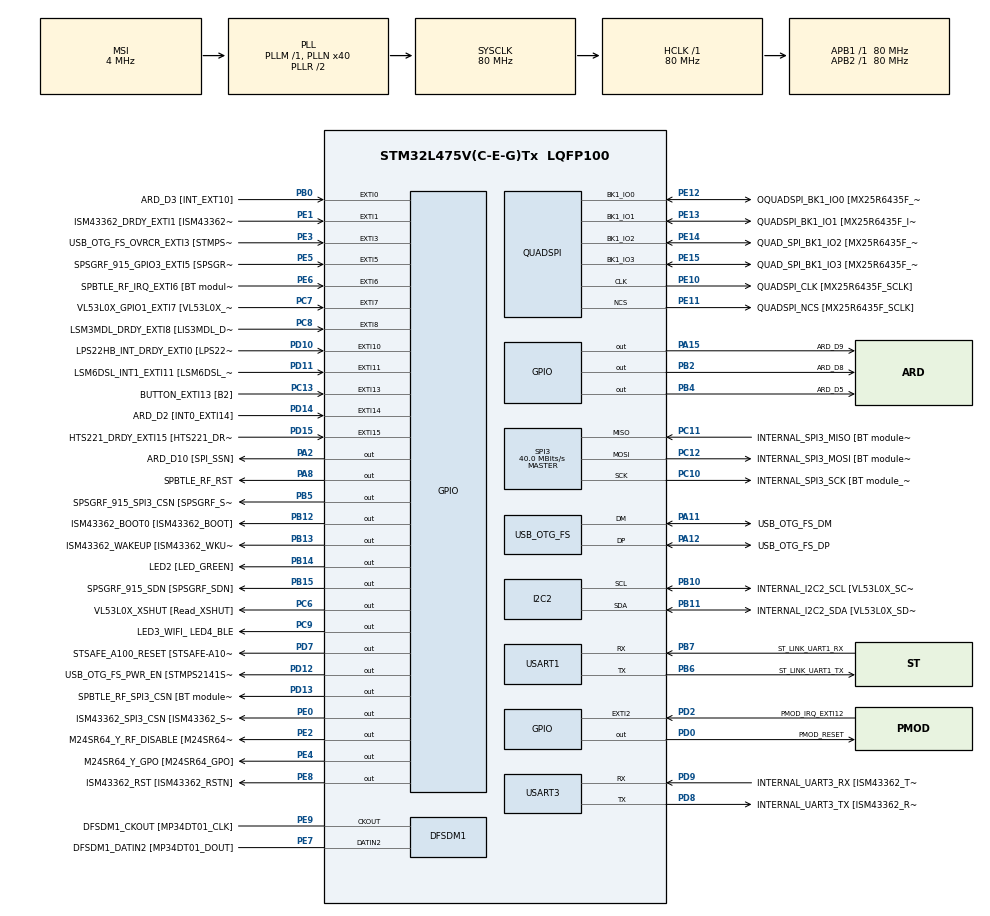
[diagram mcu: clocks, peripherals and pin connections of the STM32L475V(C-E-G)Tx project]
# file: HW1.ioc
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FREERTOS.BinarySemaphores01=myBinarySem01,Dynamic,NULL,Available;myBinarySem02,Dynamic,NULL,Available
FREERTOS.Mutexes01=myMutex01,Dynamic,NULL,Depleted
FREERTOS.Tasks01=defaultTask,24,128,StartDefaultTask,Default,NULL,Dynamic,NULL,NULL;myTask02,24,128,StartTask02,Default,NULL,Dynamic,NULL,NULL
FREERTOS.Timers01=myTimer01,Callback01,osTimerPeriodic,Default,NULL,Dynamic,NULL
Mcu.Family=STM32L4
Mcu.Name=STM32L475V(C-E-G)Tx
Mcu.Package=LQFP100
NVIC.EXTI15_10_IRQn=true\:5\:0\:false\:false\:true\:true\:true\:true\:true
NVIC.EXTI9_5_IRQn=true\:5\:0\:false\:false\:true\:true\:true\:true\:true
NVIC.PriorityGroup=NVIC_PRIORITYGROUP_4
PA0.GPIO_Label=ARD_D1 [UART4_TX]
PA0.Signal=UART4_TX
PA1.GPIO_Label=ARD_D0 [UART4_RX]
PA1.Signal=UART4_RX
PA10.GPIO_Label=USB_OTG_FS_ID
PA10.Signal=USB_OTG_FS_ID
PA11.GPIO_Label=USB_OTG_FS_DM
PA11.Mode=Device_Only
PA11.Signal=USB_OTG_FS_DM
PA12.GPIO_Label=USB_OTG_FS_DP
PA12.Mode=Device_Only
PA12.Signal=USB_OTG_FS_DP
PA13\ (JTMS-SWDIO).GPIO_Label=SYS_JTMS_SWDIO
PA13\ (JTMS-SWDIO).Mode=Serial_Wire
PA13\ (JTMS-SWDIO).Signal=SYS_JTMS-SWDIO
PA14\ (JTCK-SWCLK).GPIO_Label=SYS_JTCK_SWCLK
PA14\ (JTCK-SWCLK).Mode=Serial_Wire
PA14\ (JTCK-SWCLK).Signal=SYS_JTCK-SWCLK
PA15\ (JTDI).GPIO_Label=ARD_D9
PA15\ (JTDI).Signal=GPIO_Output
PA2.GPIO_Label=ARD_D10 [SPI_SSN]
PA2.Signal=GPIO_Output
PA3.GPIO_Label=ARD_D4
PA3.Signal=S_TIM2_CH4
PA4.GPIO_Label=ARD_D7
PA4.Signal=ADCx_IN9
PA5.GPIO_Label=ARD_D13 [SPI1_SCK]
PA5.Signal=SPI1_SCK
PA6.GPIO_Label=ARD_D12 [SPI1_MISO]
PA6.Signal=SPI1_MISO
PA7.GPIO_Label=ARD_D11 [SPI1_MOSI]
PA7.Signal=SPI1_MOSI
PA8.GPIO_Label=SPBTLE_RF_RST
PA8.Signal=GPIO_Output
PA9.GPIO_Label=USB_OTG_FS_VBUS [STMPS2141STR_OUT]
PA9.Signal=USB_OTG_FS_VBUS
PB0.GPIO_Label=ARD_D3 [INT_EXT10]
PB0.Signal=GPXTI0
PB1.GPIO_Label=ARD_D6 [ADC1_IN6]
PB1.Signal=ADCx_IN16
PB10.GPIO_Label=INTERNAL_I2C2_SCL [VL53L0X_SCL]
PB10.GPIO_Pu=GPIO_PULLUP
PB10.Mode=I2C
PB10.Signal=I2C2_SCL
PB11.GPIO_Label=INTERNAL_I2C2_SDA [VL53L0X_SDA]
PB11.GPIO_Pu=GPIO_PULLUP
PB11.Mode=I2C
PB11.Signal=I2C2_SDA
PB12.GPIO_Label=ISM43362_BOOT0 [ISM43362_BOOT]
PB12.Signal=GPIO_Output
PB13.GPIO_Label=ISM43362_WAKEUP [ISM43362_WKUP]
PB13.Signal=GPIO_Output
PB14.GPIO_Label=LED2 [LED_GREEN]
PB14.Signal=GPIO_Output
PB15.GPIO_Label=SPSGRF_915_SDN [SPSGRF_SDN]
PB15.Signal=GPIO_Output
PB2.GPIO_Label=ARD_D8
PB2.Signal=GPIO_Output
PB3\ (JTDO-TRACESWO).GPIO_Label=SYS_JTD0_SWO
PB3\ (JTDO-TRACESWO).Signal=SYS_JTDO-SWO
PB4\ (NJTRST).GPIO_Label=ARD_D5
PB4\ (NJTRST).Signal=GPIO_Output
PB5.GPIO_Label=SPSGRF_915_SPI3_CSN [SPSGRF_SPI_CS]
PB5.PinState=GPIO_PIN_SET
PB5.Signal=GPIO_Output
PB6.GPIO_Label=ST_LINK_UART1_TX
PB6.Mode=Asynchronous
PB6.Signal=USART1_TX
PB7.GPIO_Label=ST_LINK_UART1_RX
PB7.Mode=Asynchronous
PB7.Signal=USART1_RX
PB8.GPIO_Label=ARD_D15 [I2C1_SCL]
PB8.Signal=I2C1_SCL
PB9.GPIO_Label=ARD_D14 [I2C1_SDA]
PB9.Signal=I2C1_SDA
PC0.GPIO_Label=ARD_A5 [ADC]
PC0.Signal=ADCx_IN1
PC1.GPIO_Label=ARD_A4 [ADC]
PC1.Signal=ADCx_IN2
PC10.GPIO_Label=INTERNAL_SPI3_SCK [BT module_SPI_SCLK] [ISM43362_SCK]
PC10.Mode=Full_Duplex_Master
PC10.Signal=SPI3_SCK
PC11.GPIO_Label=INTERNAL_SPI3_MISO [BT module_SPI_MISO] [ISM43362_MISO]
PC11.Mode=Full_Duplex_Master
PC11.Signal=SPI3_MISO
PC12.GPIO_Label=INTERNAL_SPI3_MOSI [BT module_SPI_MOSI] [ISM43362_MOSI]
PC12.Mode=Full_Duplex_Master
PC12.Signal=SPI3_MOSI
PC13.GPIO_Label=BUTTON_EXTI13 [B2]
PC13.GPIO_ModeDefaultEXTI=GPIO_MODE_IT_RISING_FALLING
PC13.Signal=GPXTI13
PC14-OSC32_IN\ (PC14).Mode=LSE-External-Oscillator
PC14-OSC32_IN\ (PC14).Signal=RCC_OSC32_IN
PC15-OSC32_OUT\ (PC15).Mode=LSE-External-Oscillator
PC15-OSC32_OUT\ (PC15).Signal=RCC_OSC32_OUT
PC2.GPIO_Label=ARD_A3 [ADC]
PC2.Signal=ADCx_IN3
PC3.GPIO_Label=ARD_A2 [ADC]
PC3.Signal=ADCx_IN4
PC4.GPIO_Label=ARD_A1 [ADC]
PC4.Signal=ADCx_IN13
PC5.GPIO_Label=ARD_A0 [ADC]
PC5.Signal=ADCx_IN14
PC6.GPIO_Label=VL53L0X_XSHUT [Read_XSHUT]
PC6.Signal=GPIO_Output
PC7.GPIO_Label=VL53L0X_GPIO1_EXTI7 [VL53L0X_GPIO1]
PC7.Signal=GPXTI7
PC8.GPIO_Label=LSM3MDL_DRDY_EXTI8 [LIS3MDL_DRDY]
PC8.Signal=GPXTI8
PC9.GPIO_Label=LED3_WIFI_ LED4_BLE
PC9.Signal=GPIO_Output
PD0.GPIO_Label=PMOD_RESET
PD0.Signal=GPIO_Output
PD1.GPIO_Label=PMOD_SPI2_SCK
PD1.Signal=SPI2_SCK
PD10.GPIO_Label=LPS22HB_INT_DRDY_EXTI0 [LPS22HB_INT_DRDY] 
PD10.Signal=GPXTI10
PD11.GPIO_Label=LSM6DSL_INT1_EXTI11 [LSM6DSL_INT1]
PD11.Signal=GPXTI11
PD12.GPIO_Label=USB_OTG_FS_PWR_EN [STMPS2141STR_EN]
PD12.Signal=GPIO_Output
PD13.GPIO_Label=SPBTLE_RF_SPI3_CSN [BT module_SPI_CS]
PD13.PinState=GPIO_PIN_SET
PD13.Signal=GPIO_Output
PD14.GPIO_Label=ARD_D2 [INT0_EXTI14]
PD14.Signal=GPXTI14
PD15.GPIO_Label=HTS221_DRDY_EXTI15 [HTS221_DRDY]
PD15.Signal=GPXTI15
PD2.GPIO_Label=PMOD_IRQ_EXTI12
PD2.Signal=GPXTI2
PD3.GPIO_Label=PMOD_UART2_CTS
PD3.Signal=USART2_CTS
PD4.GPIO_Label=PMOD_UART2_RTS
PD4.Signal=USART2_RTS
PD5.GPIO_Label=PMOD_UART2_TX
PD5.Signal=USART2_TX
PD6.GPIO_Label=PMOD_UART2_RX
PD6.Signal=USART2_RX
PD7.GPIO_Label=STSAFE_A100_RESET [STSAFE-A100_RESET]
PD7.Signal=GPIO_Output
PD8.GPIO_Label=INTERNAL_UART3_TX [ISM43362_RX]
PD8.Mode=Asynchronous
PD8.Signal=USART3_TX
PD9.GPIO_Label=INTERNAL_UART3_RX [ISM43362_TX]
PD9.Mode=Asynchronous
PD9.Signal=USART3_RX
PE0.GPIO_Label=ISM43362_SPI3_CSN [ISM43362_SSN]
PE0.PinState=GPIO_PIN_SET
PE0.Signal=GPIO_Output
PE1.GPIO_Label=ISM43362_DRDY_EXTI1 [ISM43362_DATARDY]
PE1.Signal=GPXTI1
PE10.GPIO_Label=QUADSPI_CLK [MX25R6435F_SCLK]
PE10.Mode=Single Bank
PE10.Signal=QUADSPI_CLK
PE11.GPIO_Label=QUADSPI_NCS [MX25R6435F_SCLK]
PE11.Mode=Single Bank
PE11.Signal=QUADSPI_NCS
PE12.GPIO_Label=OQUADSPI_BK1_IO0 [MX25R6435F_IO0]
PE12.Mode=Single Bank
PE12.Signal=QUADSPI_BK1_IO0
PE13.GPIO_Label=QUADSPI_BK1_IO1 [MX25R6435F_IO1]
PE13.Mode=Single Bank
PE13.Signal=QUADSPI_BK1_IO1
PE14.GPIO_Label=QUAD_SPI_BK1_IO2 [MX25R6435F_IO2]
PE14.Mode=Single Bank
PE14.Signal=QUADSPI_BK1_IO2
PE15.GPIO_Label=QUAD_SPI_BK1_IO3 [MX25R6435F_IO3]
PE15.Mode=Single Bank
PE15.Signal=QUADSPI_BK1_IO3
PE2.GPIO_Label=M24SR64_Y_RF_DISABLE [M24SR64_RFDIS]
PE2.Signal=GPIO_Output
PE3.GPIO_Label=USB_OTG_FS_OVRCR_EXTI3 [STMPS2141STR_FAULT]
PE3.Signal=GPXTI3
PE4.GPIO_Label=M24SR64_Y_GPO [M24SR64_GPO]
PE4.Signal=GPIO_Output
PE5.GPIO_Label=SPSGRF_915_GPIO3_EXTI5 [SPSGRF_GPIO_3]
PE5.Signal=GPXTI5
PE6.GPIO_Label=SPBTLE_RF_IRQ_EXTI6 [BT module_SPI_IRQ]
PE6.Signal=GPXTI6
PE7.GPIO_Label=DFSDM1_DATIN2 [MP34DT01_DOUT]
PE7.Signal=S_DATAIN2DFSDM1
PE8.GPIO_Label=ISM43362_RST [ISM43362_RSTN]
PE8.Signal=GPIO_Output
PE9.GPIO_Label=DFSDM1_CKOUT [MP34DT01_CLK]
PE9.Signal=S_CKOUTDFSDM1
ProjectManager.HeapSize=0x200
ProjectManager.StackSize=0x400
ProjectManager.TargetToolchain=STM32CubeIDE
QUADSPI.ClockPrescaler=2
QUADSPI.FifoThreshold=4
QUADSPI.FlashSize=23
QUADSPI.SampleShifting=QSPI_SAMPLE_SHIFTING_HALFCYCLE
RCC.ADCFreq_Value=48000000
RCC.AHBFreq_Value=80000000
RCC.APB1Freq_Value=80000000
RCC.APB1TimFreq_Value=80000000
RCC.APB2Freq_Value=80000000
RCC.APB2TimFreq_Value=80000000
RCC.CortexFreq_Value=80000000
RCC.HCLKFreq_Value=80000000
RCC.HSE_VALUE=8000000
RCC.HSI_VALUE=16000000
RCC.MSI_VALUE=4000000
RCC.PLLN=40
RCC.PLLSAI1N=24
RCC.SYSCLKFreq_VALUE=80000000
RCC.SYSCLKSource=RCC_SYSCLKSOURCE_PLLCLK
RCC.USBFreq_Value=48000000
RCC.VCOOutputFreq_Value=160000000
SH.ADCx_IN1.0=ADC1_IN1
SH.ADCx_IN13.0=ADC1_IN13
SH.ADCx_IN14.0=ADC1_IN14
SH.ADCx_IN16.0=ADC1_IN16
SH.ADCx_IN2.0=ADC1_IN2
SH.ADCx_IN3.0=ADC1_IN3
SH.ADCx_IN4.0=ADC1_IN4
SH.ADCx_IN9.0=ADC1_IN9
SH.S_CKOUTDFSDM1.0=DFSDM1_CKOUT,CKOUT
SH.S_CKOUTDFSDM1.1=DFSDM1_CKOUT,PDM_SPI_Input_from_ch12_and_Internal_Clock
SH.S_DATAIN2DFSDM1.0=DFSDM1_DATIN2,PDM_SPI_Input_from_ch12_and_Internal_Clock
SH.S_TIM2_CH4.0=TIM2_CH4
SPI3.CalculateBaudRate=40.0 MBits/s
SPI3.Direction=SPI_DIRECTION_2LINES
SPI3.Mode=SPI_MODE_MASTER
SPI3.VirtualType=VM_MASTER
USART1.VirtualMode-Asynchronous=VM_ASYNC
USART3.VirtualMode-Asynchronous=VM_ASYNC
USB_OTG_FS.VirtualMode=Device_Only
VP_FREERTOS_VS_CMSIS_V2.Mode=CMSIS_V2
board=B-L475E-IOT01A2

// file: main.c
/* USER CODE BEGIN Header */
/**
  ******************************************************************************
  * @file           : main.c
  * @brief          : Main program body
  ******************************************************************************
  * @attention
  *
  * Copyright (c) 2025 STMicroelectronics.
  * All rights reserved.
  *
  * This software is licensed under terms that can be found in the LICENSE file
  * in the root directory of this software component.
  * If no LICENSE file comes with this software, it is provided AS-IS.
  *
  ******************************************************************************
  */
/* USER CODE END Header */
#include "main.h"
#include "cmsis_os.h"

/* USER CODE BEGIN PD */
uint32_t press_time_start = 0;
uint32_t press_time_end = 0;
uint32_t press_duration = 0;
uint32_t press_type = 0;
/* USER CODE END PD */

DFSDM_Channel_HandleTypeDef hdfsdm1_channel1;

I2C_HandleTypeDef hi2c2;

QSPI_HandleTypeDef hqspi;

SPI_HandleTypeDef hspi3;

UART_HandleTypeDef huart1;
UART_HandleTypeDef huart3;

PCD_HandleTypeDef hpcd_USB_OTG_FS;

/* Definitions for defaultTask */
osThreadId_t defaultTaskHandle;
const osThreadAttr_t defaultTask_attributes = {
  .name = "defaultTask",
  .stack_size = 128 * 4,
  .priority = (osPriority_t) osPriorityNormal,
};
/* Definitions for myTask02 */
osThreadId_t myTask02Handle;
const osThreadAttr_t myTask02_attributes = {
  .name = "myTask02",
  .stack_size = 128 * 4,
  .priority = (osPriority_t) osPriorityNormal,
};
/* Definitions for myTimer01 */
osTimerId_t myTimer01Handle;
const osTimerAttr_t myTimer01_attributes = {
  .name = "myTimer01"
};
/* Definitions for myMutex01 */
osMutexId_t myMutex01Handle;
const osMutexAttr_t myMutex01_attributes = {
  .name = "myMutex01"
};
/* Definitions for myBinarySem01 */
osSemaphoreId_t myBinarySem01Handle;
const osSemaphoreAttr_t myBinarySem01_attributes = {
  .name = "myBinarySem01"
};
/* Definitions for myBinarySem02 */
osSemaphoreId_t myBinarySem02Handle;
const osSemaphoreAttr_t myBinarySem02_attributes = {
  .name = "myBinarySem02"
};

void SystemClock_Config(void);
static void MX_GPIO_Init(void);
static void MX_DFSDM1_Init(void);
static void MX_I2C2_Init(void);
static void MX_QUADSPI_Init(void);
static void MX_SPI3_Init(void);
static void MX_USART1_UART_Init(void);
static void MX_USART3_UART_Init(void);
static void MX_USB_OTG_FS_PCD_Init(void);
void StartDefaultTask(void *argument);
void StartTask02(void *argument);
void Callback01(void *argument);

int main(void)
{

  /* MCU Configuration--------------------------------------------------------*/

  /* Reset of all peripherals, Initializes the Flash interface and the Systick. */
  HAL_Init();

  /* Configure the system clock */
  SystemClock_Config();

  /* Initialize all configured peripherals */
  MX_GPIO_Init();
  MX_DFSDM1_Init();
  MX_I2C2_Init();
  MX_QUADSPI_Init();
  MX_SPI3_Init();
  MX_USART1_UART_Init();
  MX_USART3_UART_Init();
  MX_USB_OTG_FS_PCD_Init();

  /* Init scheduler */
  osKernelInitialize();
  /* Create the mutex(es) */
  /* creation of myMutex01 */
  myMutex01Handle = osMutexNew(&myMutex01_attributes);

  /* Create the semaphores(s) */
  /* creation of myBinarySem01 */
  myBinarySem01Handle = osSemaphoreNew(1, 1, &myBinarySem01_attributes);

  /* creation of myBinarySem02 */
  myBinarySem02Handle = osSemaphoreNew(1, 1, &myBinarySem02_attributes);

  /* USER CODE BEGIN RTOS_SEMAPHORES */
  osSemaphoreAcquire(myBinarySem01Handle, osWaitForever);
  osSemaphoreAcquire(myBinarySem02Handle, osWaitForever);
  /* USER CODE END RTOS_SEMAPHORES */

  /* Create the timer(s) */
  /* creation of myTimer01 */
  myTimer01Handle = osTimerNew(Callback01, osTimerPeriodic, NULL, &myTimer01_attributes);

  /* Create the thread(s) */
  /* creation of defaultTask */
  defaultTaskHandle = osThreadNew(StartDefaultTask, NULL, &defaultTask_attributes);

  /* creation of myTask02 */
  myTask02Handle = osThreadNew(StartTask02, NULL, &myTask02_attributes);

  /* Start scheduler */
  osKernelStart();

  /* We should never get here as control is now taken by the scheduler */

  /* Infinite loop */
  while (1)
  {

  }
}

void SystemClock_Config(void)
{
  RCC_OscInitTypeDef RCC_OscInitStruct = {0};
  RCC_ClkInitTypeDef RCC_ClkInitStruct = {0};

  /** Configure the main internal regulator output voltage
  */
  if (HAL_PWREx_ControlVoltageScaling(PWR_REGULATOR_VOLTAGE_SCALE1) != HAL_OK)
  {
    Error_Handler();
  }

  /** Configure LSE Drive Capability
  */
  HAL_PWR_EnableBkUpAccess();
  __HAL_RCC_LSEDRIVE_CONFIG(RCC_LSEDRIVE_LOW);

  /** Initializes the RCC Oscillators according to the specified parameters
  * in the RCC_OscInitTypeDef structure.
  */
  RCC_OscInitStruct.OscillatorType = RCC_OSCILLATORTYPE_LSE|RCC_OSCILLATORTYPE_MSI;
  RCC_OscInitStruct.LSEState = RCC_LSE_ON;
  RCC_OscInitStruct.MSIState = RCC_MSI_ON;
  RCC_OscInitStruct.MSICalibrationValue = 0;
  RCC_OscInitStruct.MSIClockRange = RCC_MSIRANGE_6;
  RCC_OscInitStruct.PLL.PLLState = RCC_PLL_ON;
  RCC_OscInitStruct.PLL.PLLSource = RCC_PLLSOURCE_MSI;
  RCC_OscInitStruct.PLL.PLLM = 1;
  RCC_OscInitStruct.PLL.PLLN = 40;
  RCC_OscInitStruct.PLL.PLLP = RCC_PLLP_DIV7;
  RCC_OscInitStruct.PLL.PLLQ = RCC_PLLQ_DIV2;
  RCC_OscInitStruct.PLL.PLLR = RCC_PLLR_DIV2;
  if (HAL_RCC_OscConfig(&RCC_OscInitStruct) != HAL_OK)
  {
    Error_Handler();
  }

  /** Initializes the CPU, AHB and APB buses clocks
  */
  RCC_ClkInitStruct.ClockType = RCC_CLOCKTYPE_HCLK|RCC_CLOCKTYPE_SYSCLK
                              |RCC_CLOCKTYPE_PCLK1|RCC_CLOCKTYPE_PCLK2;
  RCC_ClkInitStruct.SYSCLKSource = RCC_SYSCLKSOURCE_PLLCLK;
  RCC_ClkInitStruct.AHBCLKDivider = RCC_SYSCLK_DIV1;
  RCC_ClkInitStruct.APB1CLKDivider = RCC_HCLK_DIV1;
  RCC_ClkInitStruct.APB2CLKDivider = RCC_HCLK_DIV1;

  if (HAL_RCC_ClockConfig(&RCC_ClkInitStruct, FLASH_LATENCY_4) != HAL_OK)
  {
    Error_Handler();
  }

  /** Enable MSI Auto calibration
  */
  HAL_RCCEx_EnableMSIPLLMode();
}

static void MX_DFSDM1_Init(void)
{

  hdfsdm1_channel1.Instance = DFSDM1_Channel1;
  hdfsdm1_channel1.Init.OutputClock.Activation = ENABLE;
  hdfsdm1_channel1.Init.OutputClock.Selection = DFSDM_CHANNEL_OUTPUT_CLOCK_SYSTEM;
  hdfsdm1_channel1.Init.OutputClock.Divider = 2;
  hdfsdm1_channel1.Init.Input.Multiplexer = DFSDM_CHANNEL_EXTERNAL_INPUTS;
  hdfsdm1_channel1.Init.Input.DataPacking = DFSDM_CHANNEL_STANDARD_MODE;
  hdfsdm1_channel1.Init.Input.Pins = DFSDM_CHANNEL_FOLLOWING_CHANNEL_PINS;
  hdfsdm1_channel1.Init.SerialInterface.Type = DFSDM_CHANNEL_SPI_RISING;
  hdfsdm1_channel1.Init.SerialInterface.SpiClock = DFSDM_CHANNEL_SPI_CLOCK_INTERNAL;
  hdfsdm1_channel1.Init.Awd.FilterOrder = DFSDM_CHANNEL_FASTSINC_ORDER;
  hdfsdm1_channel1.Init.Awd.Oversampling = 1;
  hdfsdm1_channel1.Init.Offset = 0;
  hdfsdm1_channel1.Init.RightBitShift = 0x00;
  if (HAL_DFSDM_ChannelInit(&hdfsdm1_channel1) != HAL_OK)
  {
    Error_Handler();
  }

}

static void MX_I2C2_Init(void)
{

  hi2c2.Instance = I2C2;
  hi2c2.Init.Timing = 0x00000E14;
  hi2c2.Init.OwnAddress1 = 0;
  hi2c2.Init.AddressingMode = I2C_ADDRESSINGMODE_7BIT;
  hi2c2.Init.DualAddressMode = I2C_DUALADDRESS_DISABLE;
  hi2c2.Init.OwnAddress2 = 0;
  hi2c2.Init.OwnAddress2Masks = I2C_OA2_NOMASK;
  hi2c2.Init.GeneralCallMode = I2C_GENERALCALL_DISABLE;
  hi2c2.Init.NoStretchMode = I2C_NOSTRETCH_DISABLE;
  if (HAL_I2C_Init(&hi2c2) != HAL_OK)
  {
    Error_Handler();
  }

  /** Configure Analogue filter
  */
  if (HAL_I2CEx_ConfigAnalogFilter(&hi2c2, I2C_ANALOGFILTER_ENABLE) != HAL_OK)
  {
    Error_Handler();
  }

  /** Configure Digital filter
  */
  if (HAL_I2CEx_ConfigDigitalFilter(&hi2c2, 0) != HAL_OK)
  {
    Error_Handler();
  }

}

static void MX_QUADSPI_Init(void)
{

  /* QUADSPI parameter configuration*/
  hqspi.Instance = QUADSPI;
  hqspi.Init.ClockPrescaler = 2;
  hqspi.Init.FifoThreshold = 4;
  hqspi.Init.SampleShifting = QSPI_SAMPLE_SHIFTING_HALFCYCLE;
  hqspi.Init.FlashSize = 23;
  hqspi.Init.ChipSelectHighTime = QSPI_CS_HIGH_TIME_1_CYCLE;
  hqspi.Init.ClockMode = QSPI_CLOCK_MODE_0;
  if (HAL_QSPI_Init(&hqspi) != HAL_OK)
  {
    Error_Handler();
  }

}

static void MX_SPI3_Init(void)
{

  /* SPI3 parameter configuration*/
  hspi3.Instance = SPI3;
  hspi3.Init.Mode = SPI_MODE_MASTER;
  hspi3.Init.Direction = SPI_DIRECTION_2LINES;
  hspi3.Init.DataSize = SPI_DATASIZE_4BIT;
  hspi3.Init.CLKPolarity = SPI_POLARITY_LOW;
  hspi3.Init.CLKPhase = SPI_PHASE_1EDGE;
  hspi3.Init.NSS = SPI_NSS_SOFT;
  hspi3.Init.BaudRatePrescaler = SPI_BAUDRATEPRESCALER_2;
  hspi3.Init.FirstBit = SPI_FIRSTBIT_MSB;
  hspi3.Init.TIMode = SPI_TIMODE_DISABLE;
  hspi3.Init.CRCCalculation = SPI_CRCCALCULATION_DISABLE;
  hspi3.Init.CRCPolynomial = 7;
  hspi3.Init.CRCLength = SPI_CRC_LENGTH_DATASIZE;
  hspi3.Init.NSSPMode = SPI_NSS_PULSE_ENABLE;
  if (HAL_SPI_Init(&hspi3) != HAL_OK)
  {
    Error_Handler();
  }

}

static void MX_USART1_UART_Init(void)
{

  huart1.Instance = USART1;
  huart1.Init.BaudRate = 115200;
  huart1.Init.WordLength = UART_WORDLENGTH_8B;
  huart1.Init.StopBits = UART_STOPBITS_1;
  huart1.Init.Parity = UART_PARITY_NONE;
  huart1.Init.Mode = UART_MODE_TX_RX;
  huart1.Init.HwFlowCtl = UART_HWCONTROL_NONE;
  huart1.Init.OverSampling = UART_OVERSAMPLING_16;
  huart1.Init.OneBitSampling = UART_ONE_BIT_SAMPLE_DISABLE;
  huart1.AdvancedInit.AdvFeatureInit = UART_ADVFEATURE_NO_INIT;
  if (HAL_UART_Init(&huart1) != HAL_OK)
  {
    Error_Handler();
  }

}

static void MX_USART3_UART_Init(void)
{

  huart3.Instance = USART3;
  huart3.Init.BaudRate = 115200;
  huart3.Init.WordLength = UART_WORDLENGTH_8B;
  huart3.Init.StopBits = UART_STOPBITS_1;
  huart3.Init.Parity = UART_PARITY_NONE;
  huart3.Init.Mode = UART_MODE_TX_RX;
  huart3.Init.HwFlowCtl = UART_HWCONTROL_NONE;
  huart3.Init.OverSampling = UART_OVERSAMPLING_16;
  huart3.Init.OneBitSampling = UART_ONE_BIT_SAMPLE_DISABLE;
  huart3.AdvancedInit.AdvFeatureInit = UART_ADVFEATURE_NO_INIT;
  if (HAL_UART_Init(&huart3) != HAL_OK)
  {
    Error_Handler();
  }

}

static void MX_USB_OTG_FS_PCD_Init(void)
{

  hpcd_USB_OTG_FS.Instance = USB_OTG_FS;
  hpcd_USB_OTG_FS.Init.dev_endpoints = 6;
  hpcd_USB_OTG_FS.Init.speed = PCD_SPEED_FULL;
  hpcd_USB_OTG_FS.Init.phy_itface = PCD_PHY_EMBEDDED;
  hpcd_USB_OTG_FS.Init.Sof_enable = DISABLE;
  hpcd_USB_OTG_FS.Init.low_power_enable = DISABLE;
  hpcd_USB_OTG_FS.Init.lpm_enable = DISABLE;
  hpcd_USB_OTG_FS.Init.battery_charging_enable = DISABLE;
  hpcd_USB_OTG_FS.Init.use_dedicated_ep1 = DISABLE;
  hpcd_USB_OTG_FS.Init.vbus_sensing_enable = DISABLE;
  if (HAL_PCD_Init(&hpcd_USB_OTG_FS) != HAL_OK)
  {
    Error_Handler();
  }

}

static void MX_GPIO_Init(void)
{
  GPIO_InitTypeDef GPIO_InitStruct = {0};

  /* GPIO Ports Clock Enable */
  __HAL_RCC_GPIOE_CLK_ENABLE();
  __HAL_RCC_GPIOC_CLK_ENABLE();
  __HAL_RCC_GPIOA_CLK_ENABLE();
  __HAL_RCC_GPIOB_CLK_ENABLE();
  __HAL_RCC_GPIOD_CLK_ENABLE();

  /*Configure GPIO pin Output Level */
  HAL_GPIO_WritePin(GPIOE, M24SR64_Y_RF_DISABLE_Pin|M24SR64_Y_GPO_Pin|ISM43362_RST_Pin, GPIO_PIN_RESET);

  /*Configure GPIO pin Output Level */
  HAL_GPIO_WritePin(GPIOA, ARD_D10_Pin|SPBTLE_RF_RST_Pin|ARD_D9_Pin, GPIO_PIN_RESET);

  /*Configure GPIO pin Output Level */
  HAL_GPIO_WritePin(GPIOB, ARD_D8_Pin|ISM43362_BOOT0_Pin|ISM43362_WAKEUP_Pin|LED2_Pin
                          |SPSGRF_915_SDN_Pin|ARD_D5_Pin, GPIO_PIN_RESET);

  /*Configure GPIO pin Output Level */
  HAL_GPIO_WritePin(GPIOD, USB_OTG_FS_PWR_EN_Pin|PMOD_RESET_Pin|STSAFE_A100_RESET_Pin, GPIO_PIN_RESET);

  /*Configure GPIO pin Output Level */
  HAL_GPIO_WritePin(SPBTLE_RF_SPI3_CSN_GPIO_Port, SPBTLE_RF_SPI3_CSN_Pin, GPIO_PIN_SET);

  /*Configure GPIO pin Output Level */
  HAL_GPIO_WritePin(GPIOC, VL53L0X_XSHUT_Pin|LED3_WIFI__LED4_BLE_Pin, GPIO_PIN_RESET);

  /*Configure GPIO pin Output Level */
  HAL_GPIO_WritePin(SPSGRF_915_SPI3_CSN_GPIO_Port, SPSGRF_915_SPI3_CSN_Pin, GPIO_PIN_SET);

  /*Configure GPIO pin Output Level */
  HAL_GPIO_WritePin(ISM43362_SPI3_CSN_GPIO_Port, ISM43362_SPI3_CSN_Pin, GPIO_PIN_SET);

  /*Configure GPIO pins : M24SR64_Y_RF_DISABLE_Pin M24SR64_Y_GPO_Pin ISM43362_RST_Pin ISM43362_SPI3_CSN_Pin */
  GPIO_InitStruct.Pin = M24SR64_Y_RF_DISABLE_Pin|M24SR64_Y_GPO_Pin|ISM43362_RST_Pin|ISM43362_SPI3_CSN_Pin;
  GPIO_InitStruct.Mode = GPIO_MODE_OUTPUT_PP;
  GPIO_InitStruct.Pull = GPIO_NOPULL;
  GPIO_InitStruct.Speed = GPIO_SPEED_FREQ_LOW;
  HAL_GPIO_Init(GPIOE, &GPIO_InitStruct);

  /*Configure GPIO pins : USB_OTG_FS_OVRCR_EXTI3_Pin SPSGRF_915_GPIO3_EXTI5_Pin SPBTLE_RF_IRQ_EXTI6_Pin ISM43362_DRDY_EXTI1_Pin */
  GPIO_InitStruct.Pin = USB_OTG_FS_OVRCR_EXTI3_Pin|SPSGRF_915_GPIO3_EXTI5_Pin|SPBTLE_RF_IRQ_EXTI6_Pin|ISM43362_DRDY_EXTI1_Pin;
  GPIO_InitStruct.Mode = GPIO_MODE_IT_RISING;
  GPIO_InitStruct.Pull = GPIO_NOPULL;
  HAL_GPIO_Init(GPIOE, &GPIO_InitStruct);

  /*Configure GPIO pin : BUTTON_EXTI13_Pin */
  GPIO_InitStruct.Pin = BUTTON_EXTI13_Pin;
  GPIO_InitStruct.Mode = GPIO_MODE_IT_RISING_FALLING;
  GPIO_InitStruct.Pull = GPIO_NOPULL;
  HAL_GPIO_Init(BUTTON_EXTI13_GPIO_Port, &GPIO_InitStruct);

  /*Configure GPIO pins : ARD_A5_Pin ARD_A4_Pin ARD_A3_Pin ARD_A2_Pin
                           ARD_A1_Pin ARD_A0_Pin */
  GPIO_InitStruct.Pin = ARD_A5_Pin|ARD_A4_Pin|ARD_A3_Pin|ARD_A2_Pin
                          |ARD_A1_Pin|ARD_A0_Pin;
  GPIO_InitStruct.Mode = GPIO_MODE_ANALOG_ADC_CONTROL;
  GPIO_InitStruct.Pull = GPIO_NOPULL;
  HAL_GPIO_Init(GPIOC, &GPIO_InitStruct);

  /*Configure GPIO pins : ARD_D1_Pin ARD_D0_Pin */
  GPIO_InitStruct.Pin = ARD_D1_Pin|ARD_D0_Pin;
  GPIO_InitStruct.Mode = GPIO_MODE_AF_PP;
  GPIO_InitStruct.Pull = GPIO_NOPULL;
  GPIO_InitStruct.Speed = GPIO_SPEED_FREQ_VERY_HIGH;
  GPIO_InitStruct.Alternate = GPIO_AF8_UART4;
  HAL_GPIO_Init(GPIOA, &GPIO_InitStruct);

  /*Configure GPIO pins : ARD_D10_Pin SPBTLE_RF_RST_Pin ARD_D9_Pin */
  GPIO_InitStruct.Pin = ARD_D10_Pin|SPBTLE_RF_RST_Pin|ARD_D9_Pin;
  GPIO_InitStruct.Mode = GPIO_MODE_OUTPUT_PP;
  GPIO_InitStruct.Pull = GPIO_NOPULL;
  GPIO_InitStruct.Speed = GPIO_SPEED_FREQ_LOW;
  HAL_GPIO_Init(GPIOA, &GPIO_InitStruct);

  /*Configure GPIO pin : ARD_D4_Pin */
  GPIO_InitStruct.Pin = ARD_D4_Pin;
  GPIO_InitStruct.Mode = GPIO_MODE_AF_PP;
  GPIO_InitStruct.Pull = GPIO_NOPULL;
  GPIO_InitStruct.Speed = GPIO_SPEED_FREQ_LOW;
  GPIO_InitStruct.Alternate = GPIO_AF1_TIM2;
  HAL_GPIO_Init(ARD_D4_GPIO_Port, &GPIO_InitStruct);

  /*Configure GPIO pin : ARD_D7_Pin */
  GPIO_InitStruct.Pin = ARD_D7_Pin;
  GPIO_InitStruct.Mode = GPIO_MODE_ANALOG_ADC_CONTROL;
  GPIO_InitStruct.Pull = GPIO_NOPULL;
  HAL_GPIO_Init(ARD_D7_GPIO_Port, &GPIO_InitStruct);

  /*Configure GPIO pins : ARD_D13_Pin ARD_D12_Pin ARD_D11_Pin */
  GPIO_InitStruct.Pin = ARD_D13_Pin|ARD_D12_Pin|ARD_D11_Pin;
  GPIO_InitStruct.Mode = GPIO_MODE_AF_PP;
  GPIO_InitStruct.Pull = GPIO_NOPULL;
  GPIO_InitStruct.Speed = GPIO_SPEED_FREQ_VERY_HIGH;
  GPIO_InitStruct.Alternate = GPIO_AF5_SPI1;
  HAL_GPIO_Init(GPIOA, &GPIO_InitStruct);

  /*Configure GPIO pin : ARD_D3_Pin */
  GPIO_InitStruct.Pin = ARD_D3_Pin;
  GPIO_InitStruct.Mode = GPIO_MODE_IT_RISING;
  GPIO_InitStruct.Pull = GPIO_NOPULL;
  HAL_GPIO_Init(ARD_D3_GPIO_Port, &GPIO_InitStruct);

  /*Configure GPIO pin : ARD_D6_Pin */
  GPIO_InitStruct.Pin = ARD_D6_Pin;
  GPIO_InitStruct.Mode = GPIO_MODE_ANALOG_ADC_CONTROL;
  GPIO_InitStruct.Pull = GPIO_NOPULL;
  HAL_GPIO_Init(ARD_D6_GPIO_Port, &GPIO_InitStruct);

  /*Configure GPIO pins : ARD_D8_Pin ISM43362_BOOT0_Pin ISM43362_WAKEUP_Pin LED2_Pin
                           SPSGRF_915_SDN_Pin ARD_D5_Pin SPSGRF_915_SPI3_CSN_Pin */
  GPIO_InitStruct.Pin = ARD_D8_Pin|ISM43362_BOOT0_Pin|ISM43362_WAKEUP_Pin|LED2_Pin
                          |SPSGRF_915_SDN_Pin|ARD_D5_Pin|SPSGRF_915_SPI3_CSN_Pin;
  GPIO_InitStruct.Mode = GPIO_MODE_OUTPUT_PP;
  GPIO_InitStruct.Pull = GPIO_NOPULL;
  GPIO_InitStruct.Speed = GPIO_SPEED_FREQ_LOW;
  HAL_GPIO_Init(GPIOB, &GPIO_InitStruct);

  /*Configure GPIO pins : LPS22HB_INT_DRDY_EXTI0_Pin LSM6DSL_INT1_EXTI11_Pin ARD_D2_Pin HTS221_DRDY_EXTI15_Pin
                           PMOD_IRQ_EXTI12_Pin */
  GPIO_InitStruct.Pin = LPS22HB_INT_DRDY_EXTI0_Pin|LSM6DSL_INT1_EXTI11_Pin|ARD_D2_Pin|HTS221_DRDY_EXTI15_Pin
                          |PMOD_IRQ_EXTI12_Pin;
  GPIO_InitStruct.Mode = GPIO_MODE_IT_RISING;
  GPIO_InitStruct.Pull = GPIO_NOPULL;
  HAL_GPIO_Init(GPIOD, &GPIO_InitStruct);

  /*Configure GPIO pins : USB_OTG_FS_PWR_EN_Pin SPBTLE_RF_SPI3_CSN_Pin PMOD_RESET_Pin STSAFE_A100_RESET_Pin */
  GPIO_InitStruct.Pin = USB_OTG_FS_PWR_EN_Pin|SPBTLE_RF_SPI3_CSN_Pin|PMOD_RESET_Pin|STSAFE_A100_RESET_Pin;
  GPIO_InitStruct.Mode = GPIO_MODE_OUTPUT_PP;
  GPIO_InitStruct.Pull = GPIO_NOPULL;
  GPIO_InitStruct.Speed = GPIO_SPEED_FREQ_LOW;
  HAL_GPIO_Init(GPIOD, &GPIO_InitStruct);

  /*Configure GPIO pins : VL53L0X_XSHUT_Pin LED3_WIFI__LED4_BLE_Pin */
  GPIO_InitStruct.Pin = VL53L0X_XSHUT_Pin|LED3_WIFI__LED4_BLE_Pin;
  GPIO_InitStruct.Mode = GPIO_MODE_OUTPUT_PP;
  GPIO_InitStruct.Pull = GPIO_NOPULL;
  GPIO_InitStruct.Speed = GPIO_SPEED_FREQ_LOW;
  HAL_GPIO_Init(GPIOC, &GPIO_InitStruct);

  /*Configure GPIO pins : VL53L0X_GPIO1_EXTI7_Pin LSM3MDL_DRDY_EXTI8_Pin */
  GPIO_InitStruct.Pin = VL53L0X_GPIO1_EXTI7_Pin|LSM3MDL_DRDY_EXTI8_Pin;
  GPIO_InitStruct.Mode = GPIO_MODE_IT_RISING;
  GPIO_InitStruct.Pull = GPIO_NOPULL;
  HAL_GPIO_Init(GPIOC, &GPIO_InitStruct);

  /*Configure GPIO pin : PMOD_SPI2_SCK_Pin */
  GPIO_InitStruct.Pin = PMOD_SPI2_SCK_Pin;
  GPIO_InitStruct.Mode = GPIO_MODE_AF_PP;
  GPIO_InitStruct.Pull = GPIO_NOPULL;
  GPIO_InitStruct.Speed = GPIO_SPEED_FREQ_VERY_HIGH;
  GPIO_InitStruct.Alternate = GPIO_AF5_SPI2;
  HAL_GPIO_Init(PMOD_SPI2_SCK_GPIO_Port, &GPIO_InitStruct);

  /*Configure GPIO pins : PMOD_UART2_CTS_Pin PMOD_UART2_RTS_Pin PMOD_UART2_TX_Pin PMOD_UART2_RX_Pin */
  GPIO_InitStruct.Pin = PMOD_UART2_CTS_Pin|PMOD_UART2_RTS_Pin|PMOD_UART2_TX_Pin|PMOD_UART2_RX_Pin;
  GPIO_InitStruct.Mode = GPIO_MODE_AF_PP;
  GPIO_InitStruct.Pull = GPIO_NOPULL;
  GPIO_InitStruct.Speed = GPIO_SPEED_FREQ_VERY_HIGH;
  GPIO_InitStruct.Alternate = GPIO_AF7_USART2;
  HAL_GPIO_Init(GPIOD, &GPIO_InitStruct);

  /*Configure GPIO pins : ARD_D15_Pin ARD_D14_Pin */
  GPIO_InitStruct.Pin = ARD_D15_Pin|ARD_D14_Pin;
  GPIO_InitStruct.Mode = GPIO_MODE_AF_OD;
  GPIO_InitStruct.Pull = GPIO_NOPULL;
  GPIO_InitStruct.Speed = GPIO_SPEED_FREQ_VERY_HIGH;
  GPIO_InitStruct.Alternate = GPIO_AF4_I2C1;
  HAL_GPIO_Init(GPIOB, &GPIO_InitStruct);

  /* EXTI interrupt init*/
  HAL_NVIC_SetPriority(EXTI9_5_IRQn, 5, 0);
  HAL_NVIC_EnableIRQ(EXTI9_5_IRQn);

  HAL_NVIC_SetPriority(EXTI15_10_IRQn, 5, 0);
  HAL_NVIC_EnableIRQ(EXTI15_10_IRQn);

}

/* USER CODE BEGIN 4 */
void HAL_GPIO_EXTI_Callback(uint16_t GPIO_Pin) {
	switch (GPIO_Pin) {
	case BUTTON_EXTI13_Pin:
		if (HAL_GPIO_ReadPin(GPIOC, BUTTON_EXTI13_Pin) == GPIO_PIN_RESET) {
			// 按键按下
			press_time_start = osKernelGetTickCount();  // 记录按下时间
		} else {
			// 按键抬起
			press_time_end = osKernelGetTickCount();  // 记录抬起时间
			press_duration = press_time_end - press_time_start;  // 计算按键按下时长
			if (press_duration < 1000)
				press_type=1;//短按
			else
				press_type=2;//长按
		}
		break;
	default:
		break;
	}
}
/* USER CODE END 4 */

void StartDefaultTask(void *argument)
{
  /* USER CODE BEGIN 5 */
  /* Infinite loop */
  for(;;)
  {
	if(press_type==1)//短按
	{
		press_type=0;
		osMutexAcquire(myMutex01Handle, osWaitForever);
		for(int i = 0; i < 10; ++i) {
			HAL_GPIO_TogglePin(GPIOB, LED2_Pin);
			osDelay(500);
		}
		osMutexRelease(myMutex01Handle);
	}
	else if(press_type==2)//长按
	{
		press_type=0;
		osMutexAcquire(myMutex01Handle, osWaitForever);
		for(int i = 0; i < 10; ++i) {
			HAL_GPIO_TogglePin(GPIOB, LED2_Pin);
			osDelay(50);
		}
		osMutexRelease(myMutex01Handle);
	}

  }
  /* USER CODE END 5 */
}

void StartTask02(void *argument)
{
  /* USER CODE BEGIN StartTask02 */
  /* Infinite loop */
  for(;;)
  {
	    osDelay(10000);
	  	osMutexAcquire(myMutex01Handle, osWaitForever);
	  	for(int i = 0; i < 20; ++i) {
	  		HAL_GPIO_TogglePin(GPIOB, LED2_Pin);
	  		osDelay(50);
	  	}
	  	osMutexRelease(myMutex01Handle);
  }
  /* USER CODE END StartTask02 */
}

/* Callback01 function */
void Callback01(void *argument)
{
}

void Error_Handler(void)
{
  __disable_irq();
  while (1)
  {
  }
}
